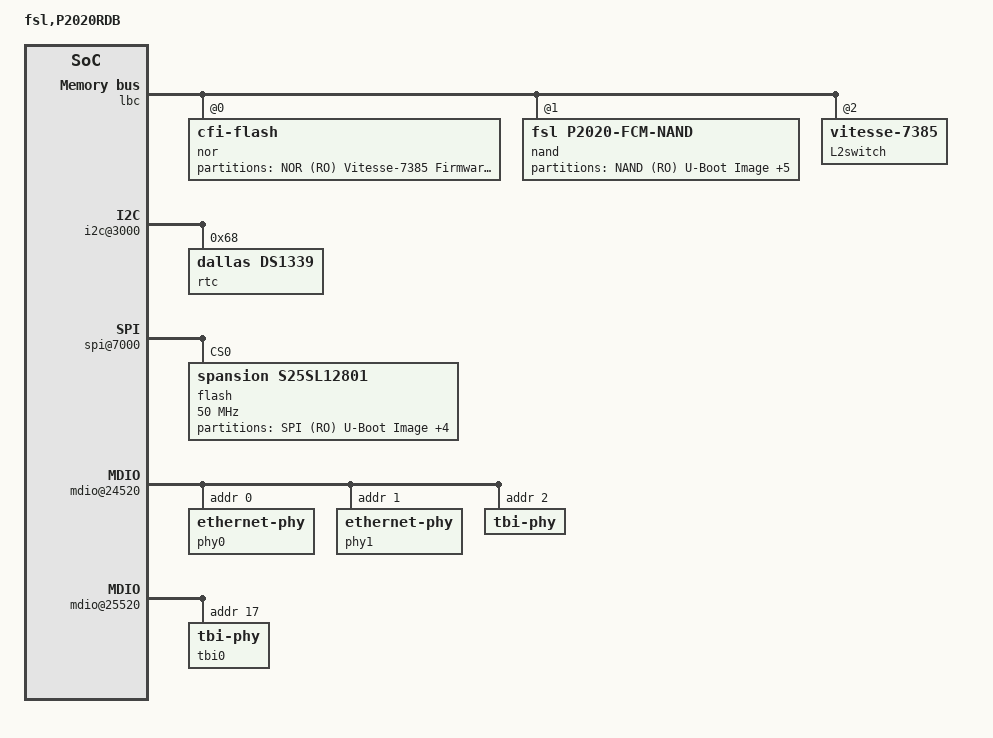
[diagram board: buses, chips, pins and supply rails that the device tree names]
/*
 * P2020 RDB Device Tree Source
 *
 * Copyright 2009-2012 Freescale Semiconductor Inc.
 *
 * This program is free software; you can redistribute  it and/or modify it
 * under  the terms of  the GNU General  Public License as published by the
 * Free Software Foundation;  either version 2 of the  License, or (at your
 * option) any later version.
 */

/include/ "fsl/p2020si-pre.dtsi"

/ {
	model = "fsl,P2020RDB";
	compatible = "fsl,P2020RDB";

	aliases {
		ethernet0 = &enet0;
		ethernet1 = &enet1;
		ethernet2 = &enet2;
		serial0 = &serial0;
		serial1 = &serial1;
		pci0 = &pci0;
		pci1 = &pci1;
	};

	memory {
		device_type = "memory";
	};

	lbc: localbus@ffe05000 {
		reg = <0 0xffe05000 0 0x1000>;

		/* NOR and NAND Flashes */
		ranges = <0x0 0x0 0x0 0xef000000 0x01000000
			  0x1 0x0 0x0 0xffa00000 0x00040000
			  0x2 0x0 0x0 0xffb00000 0x00020000>;

		nor@0,0 {
			#address-cells = <1>;
			#size-cells = <1>;
			compatible = "cfi-flash";
			reg = <0x0 0x0 0x1000000>;
			bank-width = <2>;
			device-width = <1>;

			partition@0 {
				/* This location must not be altered  */
				/* 256KB for Vitesse 7385 Switch firmware */
				reg = <0x0 0x00040000>;
				label = "NOR (RO) Vitesse-7385 Firmware";
				read-only;
			};

			partition@40000 {
				/* 256KB for DTB Image */
				reg = <0x00040000 0x00040000>;
				label = "NOR (RO) DTB Image";
				read-only;
			};

			partition@80000 {
				/* 3.5 MB for Linux Kernel Image */
				reg = <0x00080000 0x00380000>;
				label = "NOR (RO) Linux Kernel Image";
				read-only;
			};

			partition@400000 {
				/* 11MB for JFFS2 based Root file System */
				reg = <0x00400000 0x00b00000>;
				label = "NOR (RW) JFFS2 Root File System";
			};

			partition@f00000 {
				/* This location must not be altered  */
				/* 512KB for u-boot Bootloader Image */
				/* 512KB for u-boot Environment Variables */
				reg = <0x00f00000 0x00100000>;
				label = "NOR (RO) U-Boot Image";
				read-only;
			};
		};

		nand@1,0 {
			#address-cells = <1>;
			#size-cells = <1>;
			compatible = "fsl,p2020-fcm-nand",
				     "fsl,elbc-fcm-nand";
			reg = <0x1 0x0 0x40000>;

			partition@0 {
				/* This location must not be altered  */
				/* 1MB for u-boot Bootloader Image */
				reg = <0x0 0x00100000>;
				label = "NAND (RO) U-Boot Image";
				read-only;
			};

			partition@100000 {
				/* 1MB for DTB Image */
				reg = <0x00100000 0x00100000>;
				label = "NAND (RO) DTB Image";
				read-only;
			};

			partition@200000 {
				/* 4MB for Linux Kernel Image */
				reg = <0x00200000 0x00400000>;
				label = "NAND (RO) Linux Kernel Image";
				read-only;
			};

			partition@600000 {
				/* 4MB for Compressed Root file System Image */
				reg = <0x00600000 0x00400000>;
				label = "NAND (RO) Compressed RFS Image";
				read-only;
			};

			partition@a00000 {
				/* 7MB for JFFS2 based Root file System */
				reg = <0x00a00000 0x00700000>;
				label = "NAND (RW) JFFS2 Root File System";
			};

			partition@1100000 {
				/* 15MB for JFFS2 based Root file System */
				reg = <0x01100000 0x00f00000>;
				label = "NAND (RW) Writable User area";
			};
		};

		L2switch@2,0 {
			#address-cells = <1>;
			#size-cells = <1>;
			compatible = "vitesse-7385";
			reg = <0x2 0x0 0x20000>;
		};

	};

	soc: soc@ffe00000 {
		ranges = <0x0 0x0 0xffe00000 0x100000>;

		i2c@3000 {
			rtc@68 {
				compatible = "dallas,ds1339";
				reg = <0x68>;
			};
		};

		spi@7000 {
			flash@0 {
				#address-cells = <1>;
				#size-cells = <1>;
				compatible = "spansion,s25sl12801";
				reg = <0>;
				spi-max-frequency = <50000000>;

				partition@0 {
					/* 512KB for u-boot Bootloader Image */
					reg = <0x0 0x00080000>;
					label = "SPI (RO) U-Boot Image";
					read-only;
				};

				partition@80000 {
					/* 512KB for DTB Image */
					reg = <0x00080000 0x00080000>;
					label = "SPI (RO) DTB Image";
					read-only;
				};

				partition@100000 {
					/* 4MB for Linux Kernel Image */
					reg = <0x00100000 0x00400000>;
					label = "SPI (RO) Linux Kernel Image";
					read-only;
				};

				partition@500000 {
					/* 4MB for Compressed RFS Image */
					reg = <0x00500000 0x00400000>;
					label = "SPI (RO) Compressed RFS Image";
					read-only;
				};

				partition@900000 {
					/* 7MB for JFFS2 based RFS */
					reg = <0x00900000 0x00700000>;
					label = "SPI (RW) JFFS2 RFS";
				};
			};
		};

		usb@22000 {
			phy_type = "ulpi";
			dr_mode = "host";
		};

		mdio@24520 {
			phy0: ethernet-phy@0 {
				interrupts = <3 1 0 0>;
				reg = <0x0>;
			};
			phy1: ethernet-phy@1 {
				interrupts = <3 1 0 0>;
				reg = <0x1>;
			};
			tbi-phy@2 {
				device_type = "tbi-phy";
				reg = <0x2>;
			};
		};

		mdio@25520 {
			tbi0: tbi-phy@11 {
				reg = <0x11>;
				device_type = "tbi-phy";
			};
		};

		mdio@26520 {
			status = "disabled";
		};

		ptp_clock@24e00 {
			fsl,tclk-period = <5>;
			fsl,tmr-prsc = <200>;
			fsl,tmr-add = <0xCCCCCCCD>;
			fsl,tmr-fiper1 = <0x3B9AC9FB>;
			fsl,tmr-fiper2 = <0x0001869B>;
			fsl,max-adj = <249999999>;
		};

		enet0: ethernet@24000 {
			fixed-link = <1 1 1000 0 0>;
			phy-connection-type = "rgmii-id";
		};

		enet1: ethernet@25000 {
			tbi-handle = <&tbi0>;
			phy-handle = <&phy0>;
			phy-connection-type = "sgmii";
		};

		enet2: ethernet@26000 {
			phy-handle = <&phy1>;
			phy-connection-type = "rgmii-id";
		};
	};

	pci0: pcie@ffe08000 {
		reg = <0 0xffe08000 0 0x1000>;
		status = "disabled";
	};

	pci1: pcie@ffe09000 {
		reg = <0 0xffe09000 0 0x1000>;
		ranges = <0x2000000 0x0 0xa0000000 0 0xa0000000 0x0 0x20000000
			  0x1000000 0x0 0x00000000 0 0xffc10000 0x0 0x10000>;
		pcie@0 {
			ranges = <0x2000000 0x0 0xa0000000
				  0x2000000 0x0 0xa0000000
				  0x0 0x20000000

				  0x1000000 0x0 0x0
				  0x1000000 0x0 0x0
				  0x0 0x100000>;
		};
	};

	pci2: pcie@ffe0a000 {
		reg = <0 0xffe0a000 0 0x1000>;
		ranges = <0x2000000 0x0 0x80000000 0 0x80000000 0x0 0x20000000
			  0x1000000 0x0 0x00000000 0 0xffc00000 0x0 0x10000>;
		pcie@0 {
			ranges = <0x2000000 0x0 0x80000000
				  0x2000000 0x0 0x80000000
				  0x0 0x20000000

				  0x1000000 0x0 0x0
				  0x1000000 0x0 0x0
				  0x0 0x100000>;
		};
	};
};

/include/ "fsl/p2020si-post.dtsi"
